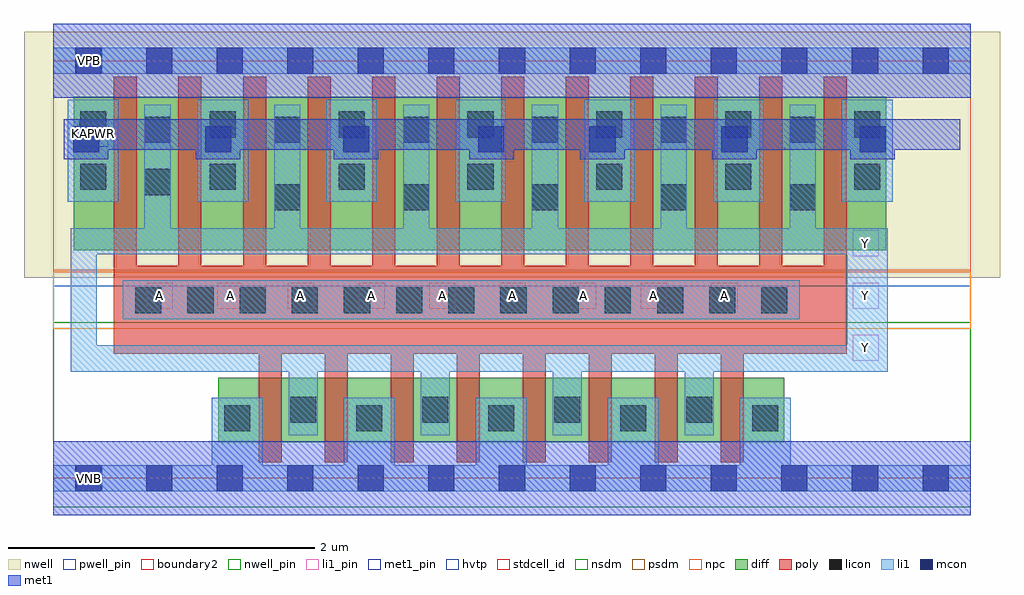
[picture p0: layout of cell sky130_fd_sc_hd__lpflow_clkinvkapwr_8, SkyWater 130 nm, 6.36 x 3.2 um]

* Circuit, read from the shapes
.subckt sky130_fd_sc_hd__lpflow_clkinvkapwr_8 A KAPWR VGND VNB VPB VPWR Y
XM1 Y A VGND VNB sky130_fd_pr__nfet_01v8 w=0.42 l=0.15 m=8
XM2 Y A KAPWR VPB sky130_fd_pr__pfet_01v8_hvt w=1 l=0.15 m=12
.ends

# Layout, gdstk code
import gdstk
lib = gdstk.Library(unit=1e-6, precision=1e-09)
def R(c, l, rs):  # rectangles x0, y0, x1, y1
    for r in rs: c.add(gdstk.rectangle(r[:2], r[2:], *l))
def A(c, l, x, y, w, h, nx, ny, dx, dy):  # array of equal rectangles
    R(c, l, [(x+i*dx, y+j*dy, x+i*dx+w, y+j*dy+h) for i in range(nx) for j in range(ny)])
def P(c, l, *ps):  # polygons
    for p in ps: c.add(gdstk.Polygon(p, *l))
nwell_pin = (64, 16)
nwell = (64, 20)
diff = (65, 20)
poly = (66, 20)
licon = (66, 44)
li1_pin = (67, 16)
li1 = (67, 20)
mcon = (67, 44)
met1_pin = (68, 16)
met1 = (68, 20)
hvtp = (78, 44)
stdcell_id = (81, 4)
nsdm = (93, 44)
psdm = (94, 20)
npc = (95, 20)
pwell_pin = (122, 16)
boundary2 = (236, 0)

sky130_fd_sc_hd__lpflow_ = lib.new_cell('sky130_fd_sc_hd__lpflow_clkinvkapwr_8')
R(sky130_fd_sc_hd__lpflow_, nwell_pin, [(0.15,2.635,0.32,2.805)])
R(sky130_fd_sc_hd__lpflow_, nwell, [(-0.19,1.305,6.17,2.91)])
R(sky130_fd_sc_hd__lpflow_, diff, [(1.075,0.235,4.765,0.655), (0.135,1.485,5.43,2.485)])
P(sky130_fd_sc_hd__lpflow_, poly, [(5.17,2.615),(5.02,2.615),(5.02,1.385),(4.75,1.385),(4.75,2.615),(4.6,2.615),(4.6,1.385),(4.33,1.385),(4.33,2.615),(4.18,2.615),(4.18,1.385),(3.91,1.385),(3.91,2.615),(3.76,2.615),(3.76,1.385),(3.49,1.385),(3.49,2.615),(3.34,2.615),(3.34,1.385),(3.07,1.385),(3.07,2.615),(2.92,2.615),(2.92,1.385),(2.65,1.385),(2.65,2.615),(2.5,2.615),(2.5,1.385),(2.23,1.385),(2.23,2.615),(2.08,2.615),(2.08,1.385),(1.81,1.385),(1.81,2.615),(1.66,2.615),(1.66,1.385),(1.39,1.385),(1.39,2.615),(1.24,2.615),(1.24,1.385),(0.965,1.385),(0.965,2.615),(0.815,2.615),(0.815,1.385),(0.545,1.385),(0.545,2.615),(0.395,2.615),(0.395,0.81),(1.34,0.81),(1.34,0.105),(1.49,0.105),(1.49,0.81),(1.77,0.81),(1.77,0.105),(1.92,0.105),(1.92,0.81),(2.2,0.81),(2.2,0.105),(2.35,0.105),(2.35,0.81),(2.63,0.81),(2.63,0.105),(2.78,0.105),(2.78,0.81),(3.06,0.81),(3.06,0.105),(3.21,0.105),(3.21,0.81),(3.49,0.81),(3.49,0.105),(3.64,0.105),(3.64,0.81),(3.92,0.81),(3.92,0.105),(4.07,0.105),(4.07,0.81),(4.35,0.81),(4.35,0.105),(4.5,0.105),(4.5,0.81),(5.17,0.81)])
A(sky130_fd_sc_hd__lpflow_, licon, 1.115, 0.305, 0.17, 0.17, 5, 1, 0.86, 0)
A(sky130_fd_sc_hd__lpflow_, licon, 1.545, 0.36, 0.17, 0.17, 4, 1, 0.86, 0)
A(sky130_fd_sc_hd__lpflow_, licon, 0.535, 1.075, 0.17, 0.17, 13, 1, 0.34, 0)
A(sky130_fd_sc_hd__lpflow_, licon, 1.44, 1.745, 0.17, 0.17, 5, 2, 0.84, 0.44)
A(sky130_fd_sc_hd__lpflow_, licon, 1.02, 1.88, 0.17, 0.17, 6, 2, 0.84, 0.34)
R(sky130_fd_sc_hd__lpflow_, licon, [(0.595,1.845,0.765,2.015), (0.175,1.88,0.345,2.05), (0.595,2.185,0.765,2.355), (0.175,2.22,0.345,2.39)])
A(sky130_fd_sc_hd__lpflow_, li1_pin, 5.21, 0.765, 0.17, 0.17, 1, 3, 0, 0.34)
A(sky130_fd_sc_hd__lpflow_, li1_pin, 0.61, 1.105, 0.17, 0.17, 9, 1, 0.46, 0)
A(sky130_fd_sc_hd__lpflow_, li1, 1.44, 1.58, 0.17, 0.855, 5, 1, 0.84, 0)
A(sky130_fd_sc_hd__lpflow_, li1, 0.94, 1.8, 0.33, 0.665, 6, 1, 0.84, 0)
R(sky130_fd_sc_hd__lpflow_, li1, [(0.455,1.035,4.865,1.29), (0.595,1.58,0.765,2.435), (0.095,1.8,0.425,2.465), (0,2.635,5.98,2.805)])
P(sky130_fd_sc_hd__lpflow_, li1, [(5.98,0.085),(4.805,0.085),(4.805,0.525),(4.475,0.525),(4.475,0.085),(3.945,0.085),(3.945,0.525),(3.615,0.525),(3.615,0.085),(3.085,0.085),(3.085,0.525),(2.755,0.525),(2.755,0.085),(2.225,0.085),(2.225,0.525),(1.895,0.525),(1.895,0.085),(1.365,0.085),(1.365,0.525),(1.035,0.525),(1.035,0.085),(0,0.085),(0,-0.085),(5.98,-0.085)],
  [(5.44,1.63),(5.17,1.63),(5.17,0.865),(0.285,0.865),(0.285,1.46),(5.17,1.46),(5.17,1.63),(0.115,1.63),(0.115,0.695),(1.535,0.695),(1.535,0.28),(1.725,0.28),(1.725,0.695),(2.395,0.695),(2.395,0.28),(2.585,0.28),(2.585,0.695),(3.255,0.695),(3.255,0.28),(3.445,0.28),(3.445,0.695),(4.115,0.695),(4.115,0.28),(4.305,0.28),(4.305,0.695),(5.44,0.695)])
A(sky130_fd_sc_hd__lpflow_, mcon, 0.145, -0.085, 0.17, 0.17, 13, 2, 0.46, 2.72)
R(sky130_fd_sc_hd__lpflow_, mcon, [(0.13,2.125,0.3,2.295), (0.99,2.125,1.16,2.295), (1.89,2.125,2.06,2.295), (2.77,2.125,2.94,2.295), (3.495,2.125,3.665,2.295), (4.355,2.125,4.525,2.295), (5.255,2.125,5.425,2.295)])
R(sky130_fd_sc_hd__lpflow_, met1_pin, [(0.15,-0.085,0.32,0.085), (0.17,2.16,0.36,2.33), (0.15,2.635,0.32,2.805)])
P(sky130_fd_sc_hd__lpflow_, met1, [(5.91,2.34),(0.07,2.34),(0.07,2.08),(0.36,2.08),(0.36,2.14),(0.93,2.14),(0.93,2.08),(1.22,2.08),(1.22,2.14),(1.83,2.14),(1.83,2.08),(2.12,2.08),(2.12,2.14),(2.71,2.14),(2.71,2.08),(3,2.08),(3,2.14),(3.435,2.14),(3.435,2.08),(3.725,2.08),(3.725,2.14),(4.295,2.14),(4.295,2.08),(4.585,2.08),(4.585,2.14),(5.195,2.14),(5.195,2.08),(5.485,2.08),(5.485,2.14),(5.91,2.14)])
R(sky130_fd_sc_hd__lpflow_, hvtp, [(0,1.25,5.98,2.72)])
R(sky130_fd_sc_hd__lpflow_, stdcell_id, [(0,0,5.98,2.72)])
R(sky130_fd_sc_hd__lpflow_, nsdm, [(0,-0.19,5.98,1.015)])
R(sky130_fd_sc_hd__lpflow_, psdm, [(0,1.355,5.98,2.91)])
R(sky130_fd_sc_hd__lpflow_, npc, [(0,0.975,5.98,1.345)])
R(sky130_fd_sc_hd__lpflow_, pwell_pin, [(0.15,-0.085,0.32,0.085)])
R(sky130_fd_sc_hd__lpflow_, boundary2, [(0,0,5.98,2.72)])
sky130_fd_sc_hd__lpflow_.add(gdstk.FlexPath([(0,2.72),(5.98,2.72)], 0.48, ends="flush", simple_path=True, layer=68, datatype=20))  # met1
sky130_fd_sc_hd__lpflow_.add(gdstk.FlexPath([(0,0),(5.98,0)], 0.48, ends="flush", simple_path=True, layer=68, datatype=20))  # met1
sky130_fd_sc_hd__lpflow_.add(gdstk.Label('Y', (5.295,1.53), layer=67, texttype=5))
sky130_fd_sc_hd__lpflow_.add(gdstk.Label('Y', (5.295,1.19), layer=67, texttype=5))
sky130_fd_sc_hd__lpflow_.add(gdstk.Label('Y', (5.295,0.85), layer=67, texttype=5))
sky130_fd_sc_hd__lpflow_.add(gdstk.Label('A', (2.535,1.19), layer=67, texttype=5))
sky130_fd_sc_hd__lpflow_.add(gdstk.Label('A', (2.075,1.19), layer=67, texttype=5))
sky130_fd_sc_hd__lpflow_.add(gdstk.Label('A', (1.615,1.19), layer=67, texttype=5))
sky130_fd_sc_hd__lpflow_.add(gdstk.Label('A', (1.155,1.19), layer=67, texttype=5))
sky130_fd_sc_hd__lpflow_.add(gdstk.Label('A', (4.375,1.19), layer=67, texttype=5))
sky130_fd_sc_hd__lpflow_.add(gdstk.Label('A', (3.915,1.19), layer=67, texttype=5))
sky130_fd_sc_hd__lpflow_.add(gdstk.Label('A', (3.455,1.19), layer=67, texttype=5))
sky130_fd_sc_hd__lpflow_.add(gdstk.Label('A', (2.995,1.19), layer=67, texttype=5))
sky130_fd_sc_hd__lpflow_.add(gdstk.Label('A', (0.695,1.19), layer=67, texttype=5))
sky130_fd_sc_hd__lpflow_.add(gdstk.Label('VNB', (0.235,0), layer=64, texttype=59))
sky130_fd_sc_hd__lpflow_.add(gdstk.Label('VPB', (0.235,2.72), layer=64, texttype=5))
sky130_fd_sc_hd__lpflow_.add(gdstk.Label('KAPWR', (0.265,2.245), layer=68, texttype=5))
sky130_fd_sc_hd__lpflow_.add(gdstk.Label('VGND', (0.23,0), layer=68, texttype=5))
sky130_fd_sc_hd__lpflow_.add(gdstk.Label('VPWR', (0.23,2.72), layer=68, texttype=5))
sky130_fd_sc_hd__lpflow_.add(gdstk.Label('lpflow_clkinvkapwr_8', (0,0), layer=83, texttype=44))

lib.write_gds('sky130_fd_sc_hd__lpflow_clkinvkapwr_8.gds')
